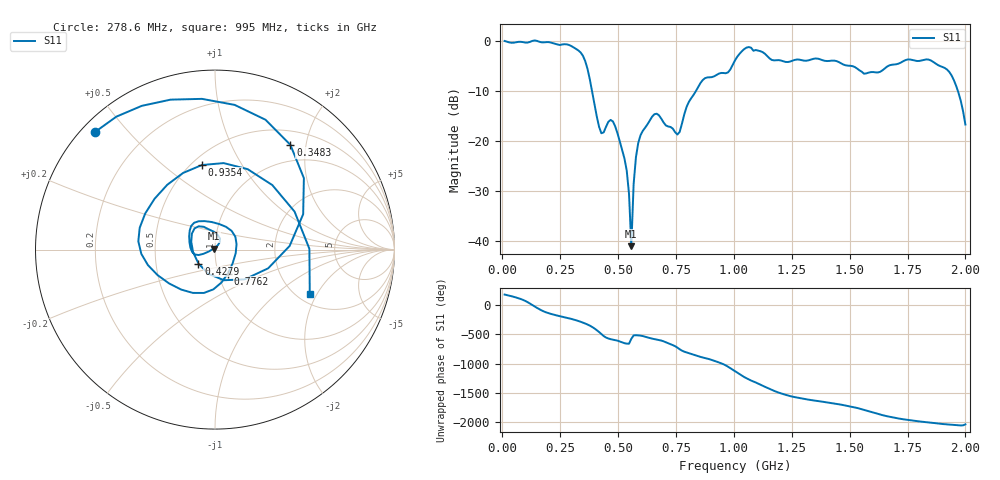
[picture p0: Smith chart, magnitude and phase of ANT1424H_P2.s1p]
!Created with skrf (http://scikit-rf.org).
# Hz S RI R 50.0
!freq ReS11 ImS11
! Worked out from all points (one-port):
!   201 points, 10 MHz to 2 GHz, reference 50 ohm
!   lowest |S11| = -41.0 dB at 557.2 MHz (marker M1), VSWR 1.02, Z = 49.3 + j0.566 ohm
!   |S11| at or under -10 dB: 387.9 MHz to 835.2 MHz (447.3 MHz wide, 73.1 % of centre); 1.968 GHz to end of sweep
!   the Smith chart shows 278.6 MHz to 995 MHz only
!   S11 on the Smith chart (normalised r, x): 278.6 MHz: 0.04, +0.41; 348.3 MHz: 0.71, +1.72; 427.9 MHz: 0.82, -0.13; 776.1 MHz: 1.11, -0.30; 935.4 MHz: 0.56, +0.69; 995 MHz: 2.33, -1.74
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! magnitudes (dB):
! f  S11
! 10 MHz  0.1
! 258.8 MHz  -0.6
! 278.6 MHz  -0.6
! 348.3 MHz  -2.9
! 427.9 MHz  -18.4
! 467.7 MHz  -15.7
! 507.5 MHz  -20.0
! 537.4 MHz  -25.8
! 547.3 MHz  -30.5
! 557.2 MHz  -41.0
! 567.2 MHz  -28.6
! 577.1 MHz  -23.2
! 597 MHz  -18.8
! 666.7 MHz  -14.5
! 756.2 MHz  -18.6
! 776.1 MHz  -16.4
! 855.8 MHz  -8.3
! 935.4 MHz  -6.4
! 995 MHz  -4.7
! 1.005 GHz  -3.8
! 1.065 GHz  -1.1
! 1.254 GHz  -3.8
! 1.502 GHz  -4.9
! 1.622 GHz  -6.2
! 1.751 GHz  -3.6
! 1.93 GHz  -6.1
! 1.97 GHz  -10.3
! 2 GHz  -16.6
